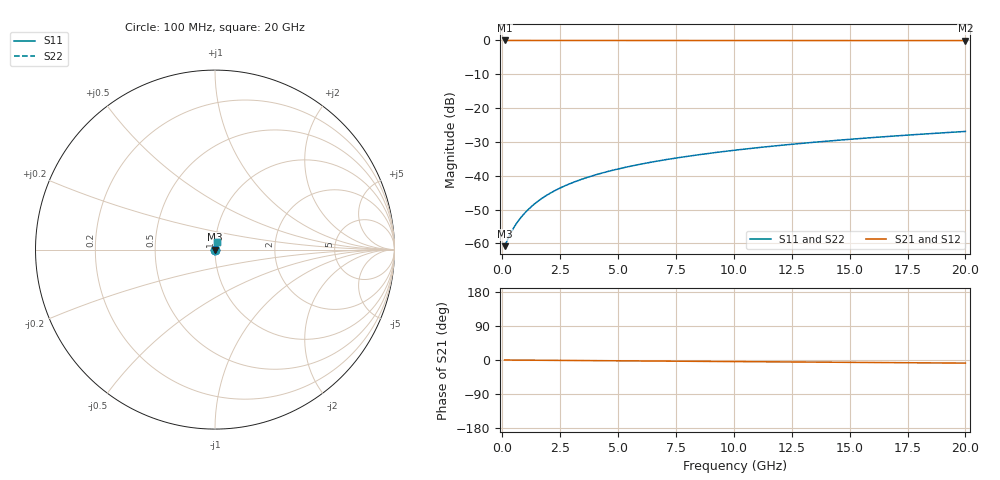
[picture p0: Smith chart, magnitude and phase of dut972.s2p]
! Touchstone file exported from HFSS 2026.1.0
!  File:  C:/ffzhzh/LocalFiles/Ansys_Project_Files/temp_train_TMRDL_972_1783159055_18472.aedt
!  Generated:  05:58:42 PM Jul  4, 2026
!  Design:  TMRDL
!  Project:  temp_train_TMRDL_972_1783159055_18472
! Variables:
!  h_bsmrdl = 2um
!  h_ox = 20um
!  h_rdl = 5um
!  h_sub = 80um
!  h_tmrdl = 5.69um
!  h_tsv = 80um
!  h_via = 3um
!  l_bsmrdl = 300um
!  l_sub = 532.66um
!  l_tmrdl = 132.66um
!  m_sub = 200um
!  pitch = 19.52um
!  r_tsv = 6um
!  s_tmrdl = 10um
!  w_bsmrdl = 18um
!  w_sub = 500um
!  w_tmrdl = 11.11um
!  x_tsv_center1 = 138.215um
!  x_tsv_center2 = 456.215um
!  x_tsv_center3 = 599.985um
!  x_tsv_center4 = 917.985um
!  x_tsv_center5 = 1061.755um
!  x_tsv_center6 = 1379.755um
# GHz S MA R 50.000000
! Terminal data exported
! Port[1] = TM_RDL1_1_T1
! Port[2] = TM_RDL1_1_T2
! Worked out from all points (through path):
!   200 points, 100 MHz to 20 GHz, reference 50 ohm
!   highest |S21| = -0.01 dB at 100 MHz (marker M1); lowest = 0.0 dB at 20 GHz (marker M2)
!   group delay of S21, straight-line fit = 1.13 ps
!   lowest |S11| = -60.8 dB at 100 MHz (marker M3), VSWR 1.00, Z = 50.1 + j0.032 ohm
!   |S11| at or under -10 dB: start of sweep to end of sweep
!   |S22| runs from -60.8 to -26.9 dB; largest |S21 - S12| = 4.9e-15
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0.1  0.0009074 20.6  0.9992 -0.0  0.9992 -0.0  0.0009074 20.6
! Gamma 0 0 0 0
! Port Impedance 50 0 50 0
0.3  0.001287 43.4  0.9991 -0.1  0.9991 -0.1  0.001287 43.4
0.4  0.001498 49.7  0.999 -0.2  0.999 -0.2  0.001498 49.7
0.6  0.001937 58.2  0.999 -0.3  0.999 -0.3  0.001937 58.2
0.7  0.002164 61.3  0.999 -0.3  0.999 -0.3  0.002164 61.3
0.9  0.002633 65.9  0.9989 -0.4  0.9989 -0.4  0.002633 65.9
1.1  0.003114 69.1  0.9989 -0.5  0.9989 -0.5  0.003114 69.1
1.3  0.003603 71.4  0.9989 -0.6  0.9989 -0.6  0.003603 71.4
1.7  0.004594 74.3  0.9988 -0.7  0.9988 -0.7  0.004594 74.3
2.2  0.005838 76.4  0.9987 -0.9  0.9987 -0.9  0.005838 76.4
2.8  0.007321 77.7  0.9986 -1.2  0.9986 -1.2  0.007321 77.7
3.5  0.009025 78.4  0.9984 -1.5  0.9984 -1.5  0.009025 78.4
4.2  0.0107 78.7  0.9982 -1.8  0.9982 -1.8  0.0107 78.7
5  0.01257 78.9  0.9979 -2.1  0.9979 -2.1  0.01257 78.9
5.9  0.01464 78.9  0.9977 -2.5  0.9977 -2.5  0.01464 78.9
6.8  0.01667 78.8  0.9975 -2.9  0.9975 -2.9  0.01667 78.8
8.3  0.02001 78.7  0.9971 -3.5  0.9971 -3.5  0.02001 78.7
10.1  0.02395 78.5  0.9967 -4.2  0.9967 -4.2  0.02395 78.5
11.7  0.02742 78.2  0.9963 -4.9  0.9963 -4.9  0.02742 78.2
13.4  0.03108 77.9  0.996 -5.5  0.996 -5.5  0.03108 77.9
16.7  0.03813 77.1  0.9953 -6.9  0.9953 -6.9  0.03813 77.1
20  0.04511 76.2  0.9946 -8.2  0.9946 -8.2  0.04511 76.2
